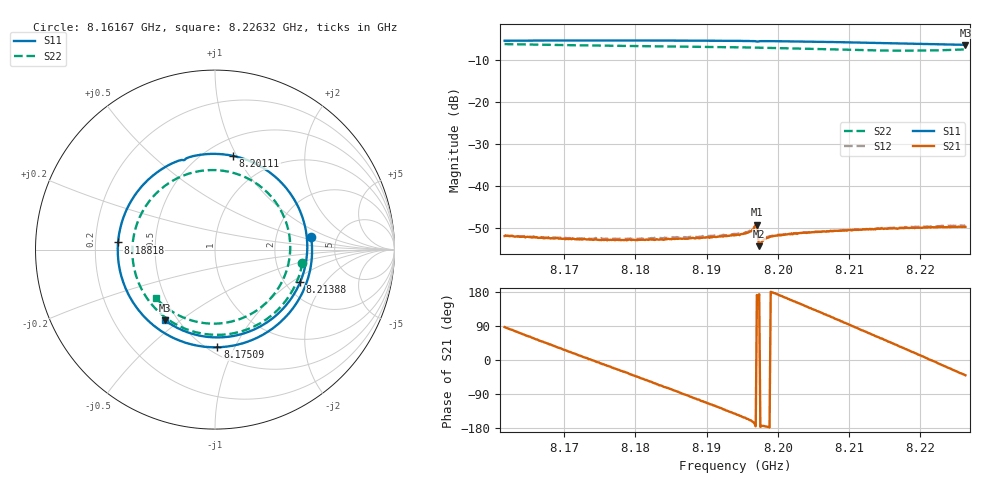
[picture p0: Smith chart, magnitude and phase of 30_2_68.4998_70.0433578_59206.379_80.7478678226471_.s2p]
#  HZ  S  RI  R  50.00
! Rohde & Schwarz Vector Network Analyzer
! Rohde-Schwarz,ZNB20-2Port,1311601062101988,3.16
! Created: UTC 3/20/2024, 5:05:02 PM
! freq[Hz]  re:S11  im:S11  re:S21  im:S21  re:S12  im:S12  re:S22  im:S22
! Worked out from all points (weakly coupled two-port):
!   401 points, 8.16167 GHz to 8.22632 GHz, reference 50 ohm
!   highest |S21| = -49.31 dB at 8.19707 GHz (marker M1); lowest = -54.5 dB at 8.19739 GHz (marker M2)
!   lowest |S11| = -6.3 dB at 8.22632 GHz (marker M3), VSWR 2.86, Z = 21.4 - j21.9 ohm
!   |S11| at or under -10 dB: nowhere
!   |S22| runs from -7.7 to -6.2 dB; largest |S21 - S12| = 0.00021
!   S11 on the Smith chart (normalised r, x): 8.16167 GHz: 3.22, +0.61; 8.17509 GHz: 0.55, -0.86; 8.18818 GHz: 0.30, +0.03; 8.20111 GHz: 0.66, +0.97; 8.21388 GHz: 2.40, -1.18; 8.22632 GHz: 0.43, -0.44
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8.16167e9  0.5358 0.0676  0.000139 0.0025  0.000123 0.00253  0.487 -0.0737
8.16668e9  0.4775 -0.2589  0.00152 0.00183  0.00152 0.00191  0.3513 -0.3338
8.172499e9  0.1862 -0.5116  0.00224 0.000384  0.00232 0.000429  0.0509 -0.4733
8.175085e9  0.0133 -0.5442  0.00222 -0.000342  0.00231 -0.000336  -0.0958 -0.463
8.179126e9  -0.254 -0.4809  0.00183 -0.00135  0.00183 -0.0014  -0.2982 -0.3605
8.183328e9  -0.4631 -0.2836  0.000896 -0.00208  0.000926 -0.00218  -0.4314 -0.1697
8.188177e9  -0.54 0.0401  -0.000421 -0.00234  -0.000449 -0.00241  -0.4486 0.0959
8.191087e9  -0.4863 0.2352  -0.00122 -0.00212  -0.00134 -0.00215  -0.3848 0.2436
8.193996e9  -0.3635 0.3972  -0.00201 -0.0016  -0.00213 -0.00157  -0.2726 0.3598
8.196744e9  -0.1961 0.4971  -0.00312 -0.000674  -0.00321 -0.000538  -0.1343 0.4266
8.197067e9  -0.1733 0.4983  -0.00339 0.000501  -0.0034 0.000675  -0.1166 0.431
8.197391e9  -0.1611 0.5074  -0.00188 0.000212  -0.00193 0.000278  -0.0992 0.4351
8.197714e9  -0.138 0.5165  -0.00209 -0.000222  -0.00212 -0.000116  -0.0812 0.4383
8.198684e9  -0.0693 0.5298  -0.00239 -0.000136  -0.00243 1.61e-06  -0.0263 0.4431
8.201108e9  0.1015 0.5219  -0.00252 0.000702  -0.00251 0.000832  0.1102 0.4253
8.204826e9  0.3347 0.4062  -0.00195 0.00198  -0.00191 0.00203  0.2931 0.3169
8.209513e9  0.5025 0.1246  -0.000384 0.0029  -0.000308 0.00292  0.4151 0.0723
8.213877e9  0.4742 -0.1822  0.00145 0.0027  0.00147 0.00267  0.3688 -0.1875
8.215655e9  0.4099 -0.2926  0.00207 0.00228  0.00216 0.00225  0.3034 -0.2786
8.220989e9  0.0858 -0.4842  0.00316 0.000233  0.00327 7.51e-05  -0.00723 -0.4127
8.223575e9  -0.1003 -0.4762  0.00305 -0.000963  0.00311 -0.00113  -0.1768 -0.3783
8.226323e9  -0.2796 -0.3932  0.00246 -0.00208  0.00248 -0.00229  -0.3292 -0.2694
